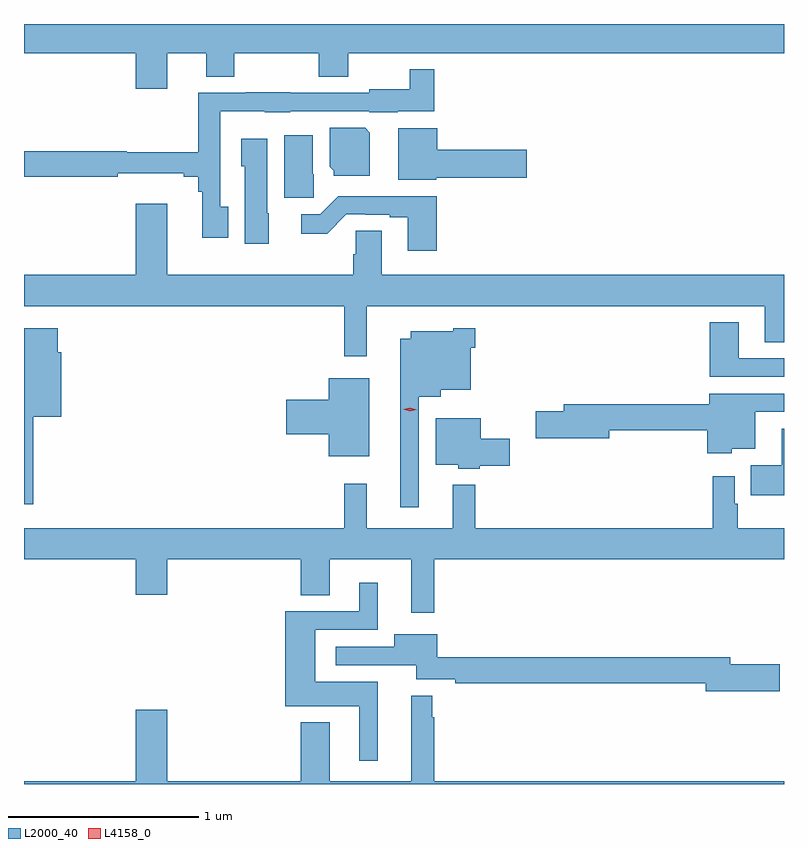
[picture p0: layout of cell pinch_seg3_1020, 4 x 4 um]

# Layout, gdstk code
import gdstk
lib = gdstk.Library(unit=1e-6, precision=1e-09)
def P(c, l, *ps):  # polygons
    for p in ps: c.add(gdstk.Polygon(p, *l))
L2000_40 = (2000, 40)
L4158_0 = (4158, 0)

pinch_seg3_1020 = lib.new_cell('pinch_seg3_1020')
P(pinch_seg3_1020, L2000_40, [(572.764,688.928),(572.969,688.928),(572.969,688.804),(573.117,688.804),(573.117,688.928),(573.562,688.928),(573.562,688.804),(573.717,688.804),(573.717,688.928),(576.011,688.928),(576.011,689.081),(572.011,689.081),(572.011,688.928),(572.6,688.928),(572.6,688.74),(572.764,688.74)],
  [(573.085,688.118),(573.045,688.118),(573.045,688.622),(573.279,688.622),(573.279,688.616),(573.411,688.616),(573.411,688.623),(573.828,688.623),(573.828,688.616),(573.978,688.616),(573.978,688.622),(574.169,688.622),(574.169,688.843),(574.041,688.843),(574.041,688.738),(573.828,688.738),(573.828,688.719),(573.411,688.719),(573.411,688.721),(573.179,688.721),(573.179,688.719),(572.929,688.719),(572.929,688.405),(572.552,688.405),(572.552,688.412),(572.011,688.412),(572.011,688.276),(572.504,688.276),(572.504,688.295),(572.852,688.295),(572.852,688.276),(572.929,688.276),(572.929,688.199),(572.948,688.199),(572.948,687.957),(573.085,687.957)],
  [(573.832,688.508),(573.806,688.534),(573.62,688.534),(573.62,688.33),(573.642,688.308),(573.642,688.283),(573.832,688.283)],
  [(574.182,688.271),(574.657,688.271),(574.657,688.418),(574.186,688.418),(574.186,688.532),(573.98,688.532),(573.98,688.262),(574.182,688.262)],
  [(573.536,688.29),(573.532,688.29),(573.532,688.495),(573.38,688.495),(573.38,688.167),(573.536,688.167)],
  [(573.298,688.086),(573.292,688.086),(573.292,688.477),(573.155,688.477),(573.155,688.332),(573.173,688.332),(573.173,687.924),(573.298,687.924)],
  [(574.184,688.174),(573.664,688.174),(573.57,688.08),(573.471,688.08),(573.471,687.978),(573.606,687.978),(573.708,688.08),(573.808,688.08),(573.808,688.077),(573.935,688.077),(573.935,688.065),(574.031,688.065),(574.031,687.888),(574.184,687.888)],
  [(573.816,687.596),(575.909,687.596),(575.909,687.406),(576.011,687.406),(576.011,687.76),(573.895,687.76),(573.895,687.992),(573.756,687.992),(573.756,687.87),(573.743,687.87),(573.743,687.76),(572.764,687.76),(572.764,688.135),(572.6,688.135),(572.6,687.76),(572.011,687.76),(572.011,687.596),(573.697,687.596),(573.697,687.333),(573.816,687.333)],
  [(576.011,687.321),(575.773,687.321),(575.773,687.511),(575.621,687.511),(575.621,687.225),(576.011,687.225)],
  [(572.059,687.014),(572.206,687.014),(572.206,687.354),(572.188,687.354),(572.188,687.481),(572.011,687.481),(572.011,686.553),(572.059,686.553)],
  [(574.089,687.119),(574.204,687.119),(574.204,687.155),(574.363,687.155),(574.363,687.377),(574.385,687.377),(574.385,687.481),(574.269,687.481),(574.269,687.463),(574.046,687.463),(574.046,687.424),(573.992,687.424),(573.992,686.538),(574.089,686.538)],
  [(573.829,687.217),(573.614,687.217),(573.614,687.104),(573.39,687.104),(573.39,686.921),(573.614,686.921),(573.614,686.807),(573.829,686.807)],
  [(575.736,686.846),(575.86,686.846),(575.86,687.039),(576.011,687.039),(576.011,687.135),(575.618,687.135),(575.618,687.08),(574.853,687.08),(574.853,687.044),(574.704,687.044),(574.704,686.902),(575.092,686.902),(575.092,686.944),(575.606,686.944),(575.606,686.822),(575.736,686.822)],
  [(574.41,686.755),(574.567,686.755),(574.567,686.897),(574.414,686.897),(574.414,687.007),(574.178,687.007),(574.178,686.762),(574.296,686.762),(574.296,686.741),(574.41,686.741)],
  [(576.011,686.95),(575.999,686.95),(575.999,686.758),(575.836,686.758),(575.836,686.601),(576.011,686.601)],
  [(574.171,686.264),(576.011,686.264),(576.011,686.428),(575.768,686.428),(575.768,686.556),(575.751,686.556),(575.751,686.701),(575.635,686.701),(575.635,686.428),(574.385,686.428),(574.385,686.656),(574.268,686.656),(574.268,686.428),(573.815,686.428),(573.815,686.662),(573.697,686.662),(573.697,686.428),(572.011,686.428),(572.011,686.264),(572.6,686.264),(572.6,686.076),(572.764,686.076),(572.764,686.264),(573.467,686.264),(573.467,686.074),(573.619,686.074),(573.619,686.264),(574.049,686.264),(574.049,685.983),(574.171,685.983)],
  [(573.874,685.618),(573.544,685.618),(573.544,685.893),(573.874,685.893),(573.874,686.14),(573.776,686.14),(573.776,685.989),(573.386,685.989),(573.386,685.49),(573.776,685.49),(573.776,685.203),(573.874,685.203)],
  [(575.989,685.712),(575.728,685.712),(575.728,685.748),(574.186,685.748),(574.186,685.87),(573.959,685.87),(573.959,685.803),(573.651,685.803),(573.651,685.707),(574.076,685.707),(574.076,685.632),(574.282,685.632),(574.282,685.612),(575.6,685.612),(575.6,685.57),(575.989,685.57)],
  [(576.011,685.096),(574.171,685.096),(574.171,685.433),(574.16,685.433),(574.16,685.546),(574.049,685.546),(574.049,685.096),(573.619,685.096),(573.619,685.405),(573.467,685.405),(573.467,685.096),(572.764,685.096),(572.764,685.471),(572.6,685.471),(572.6,685.096),(572.011,685.096),(572.011,685.081),(576.011,685.081)])
P(pinch_seg3_1020, L4158_0, [(574.042,687.042),(574.007,687.054),(574.007,687.054),(574.007,687.054),(574.043,687.062),(574.078,687.05),(574.079,687.05),(574.078,687.05)])

lib.write_gds('pinch_seg3_1020.gds')
